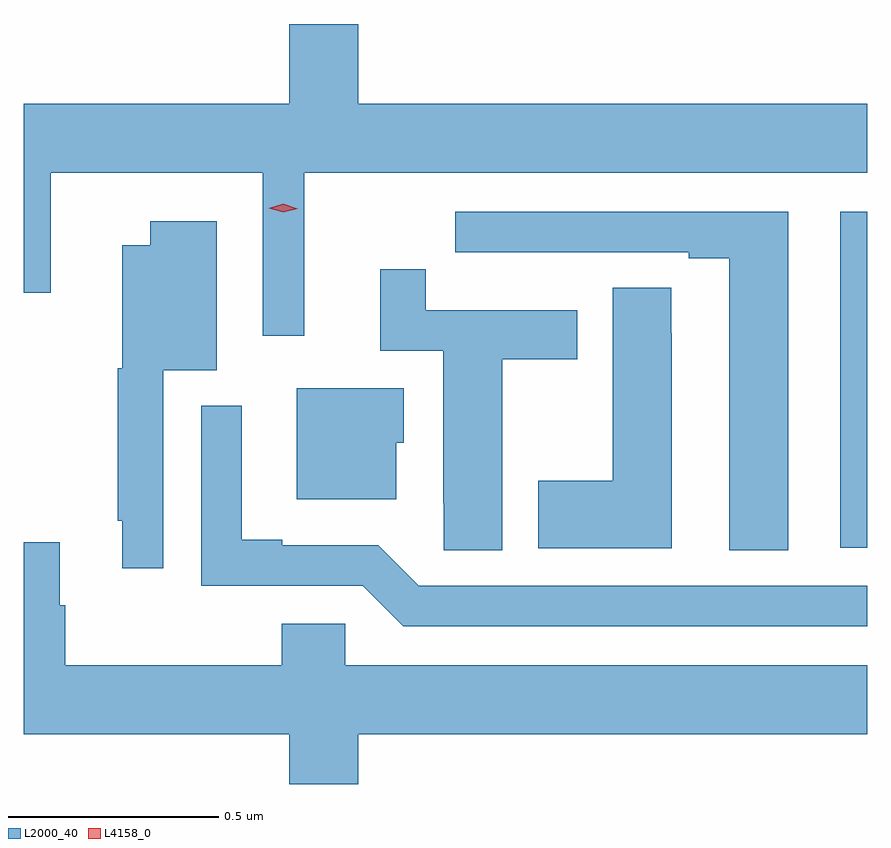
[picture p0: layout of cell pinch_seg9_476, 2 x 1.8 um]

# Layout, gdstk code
import gdstk
lib = gdstk.Library(unit=1e-6, precision=1e-09)
def R(c, l, rs):  # rectangles x0, y0, x1, y1
    for r in rs: c.add(gdstk.rectangle(r[:2], r[2:], *l))
def P(c, l, *ps):  # polygons
    for p in ps: c.add(gdstk.Polygon(p, *l))
L2000_40 = (2000, 40)
L4158_0 = (4158, 0)

pinch_seg9_476 = lib.new_cell('pinch_seg9_476')
R(pinch_seg9_476, L2000_40, [(154.328,1204.854,154.391,1205.652)])
P(pinch_seg9_476, L2000_40, [(153.056,1205.744),(154.391,1205.744),(154.391,1205.908),(153.184,1205.908),(153.184,1206.097),(153.02,1206.097),(153.02,1205.908),(152.391,1205.908),(152.391,1205.46),(152.454,1205.46),(152.454,1205.744),(152.958,1205.744),(152.958,1205.358),(153.056,1205.358)],
  [(154.204,1205.652),(153.414,1205.652),(153.414,1205.556),(153.526,1205.556),(153.526,1205.555),(153.692,1205.555),(153.692,1205.556),(153.968,1205.556),(153.968,1205.541),(154.064,1205.541),(154.064,1204.849),(154.204,1204.849)],
  [(152.721,1205.276),(152.848,1205.276),(152.848,1205.629),(152.69,1205.629),(152.69,1205.572),(152.624,1205.572),(152.624,1205.28),(152.613,1205.28),(152.613,1204.918),(152.624,1204.918),(152.624,1204.806),(152.721,1204.806)],
  [(153.526,1205.302),(153.703,1205.302),(153.703,1205.418),(153.344,1205.418),(153.344,1205.515),(153.236,1205.515),(153.236,1205.322),(153.386,1205.322),(153.386,1204.96),(153.387,1204.96),(153.387,1204.849),(153.526,1204.849)],
  [(153.928,1205.363),(153.927,1205.363),(153.927,1205.471),(153.788,1205.471),(153.788,1205.013),(153.611,1205.013),(153.611,1204.853),(153.928,1204.853)],
  [(153.274,1205.103),(153.292,1205.103),(153.292,1205.233),(153.038,1205.233),(153.038,1204.97),(153.274,1204.97)],
  [(154.391,1204.764),(153.327,1204.764),(153.231,1204.86),(153.004,1204.86),(153.004,1204.873),(152.908,1204.873),(152.908,1205.191),(152.811,1205.191),(152.811,1204.764),(153.195,1204.764),(153.291,1204.668),(154.391,1204.668)],
  [(153.184,1204.412),(154.391,1204.412),(154.391,1204.576),(153.153,1204.576),(153.153,1204.674),(153.002,1204.674),(153.002,1204.576),(152.489,1204.576),(152.489,1204.718),(152.476,1204.718),(152.476,1204.867),(152.391,1204.867),(152.391,1204.412),(153.02,1204.412),(153.02,1204.294),(153.184,1204.294)])
P(pinch_seg9_476, L4158_0, [(153.006,1205.65),(152.972,1205.66),(152.971,1205.66),(152.972,1205.66),(153.006,1205.67),(153.041,1205.659),(153.041,1205.659),(153.041,1205.659)])

lib.write_gds('pinch_seg9_476.gds')
